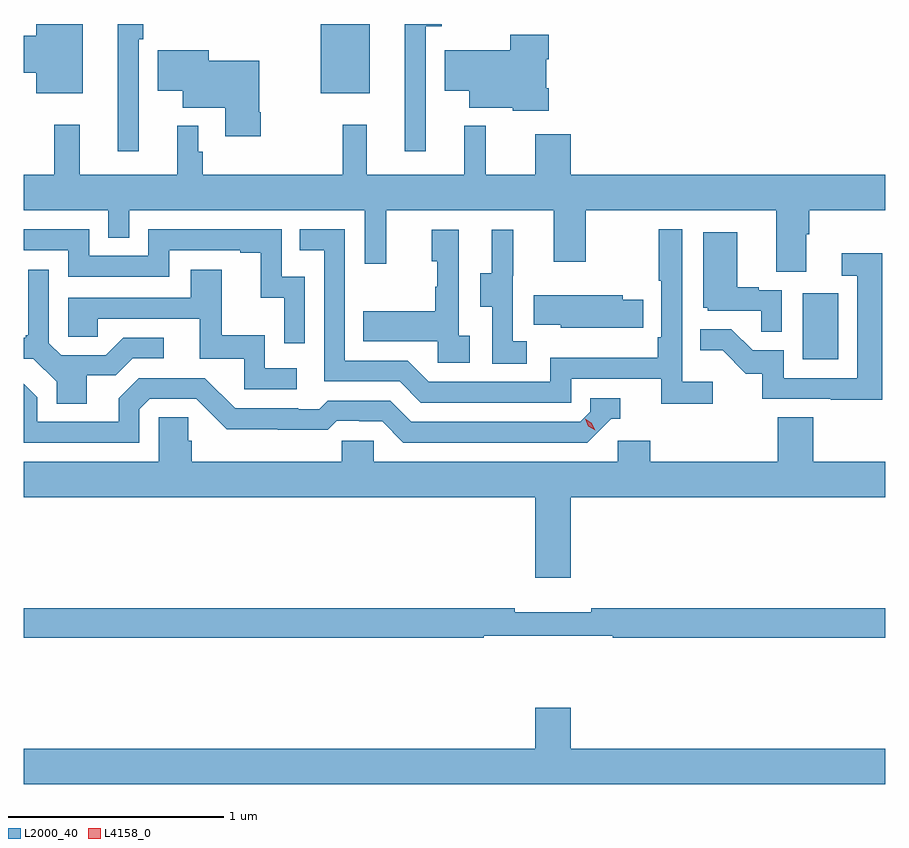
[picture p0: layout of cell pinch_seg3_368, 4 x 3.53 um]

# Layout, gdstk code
import gdstk
lib = gdstk.Library(unit=1e-6, precision=1e-09)
def R(c, l, rs):  # rectangles x0, y0, x1, y1
    for r in rs: c.add(gdstk.rectangle(r[:2], r[2:], *l))
def P(c, l, *ps):  # polygons
    for p in ps: c.add(gdstk.Polygon(p, *l))
L2000_40 = (2000, 40)
L4158_0 = (4158, 0)

pinch_seg3_368 = lib.new_cell('pinch_seg3_368')
R(pinch_seg3_368, L2000_40, [(993.422,690.9,993.586,691.207), (991.184,692.135,991.411,692.457)])
P(pinch_seg3_368, L2000_40, [(990.079,692.457),(989.864,692.457),(989.864,692.402),(989.805,692.402),(989.805,692.23),(989.864,692.23),(989.864,692.135),(990.079,692.135)],
  [(990.339,692.387),(990.359,692.387),(990.359,692.457),(990.242,692.457),(990.242,691.866),(990.339,691.866)],
  [(991.671,692.447),(991.745,692.447),(991.745,692.457),(991.574,692.457),(991.574,691.866),(991.671,691.866)],
  [(992.243,692.158),(992.23,692.158),(992.23,692.294),(992.243,692.294),(992.243,692.407),(992.065,692.407),(992.065,692.335),(991.76,692.335),(991.76,692.147),(991.874,692.147),(991.874,692.069),(992.076,692.069),(992.076,692.054),(992.243,692.054)],
  [(990.906,692.047),(990.898,692.047),(990.898,692.287),(990.664,692.287),(990.664,692.335),(990.428,692.335),(990.428,692.147),(990.542,692.147),(990.542,692.069),(990.74,692.069),(990.74,691.935),(990.906,691.935)],
  [(993.439,691.48),(993.452,691.48),(993.452,691.592),(993.805,691.592),(993.805,691.756),(992.344,691.756),(992.344,691.945),(992.18,691.945),(992.18,691.756),(991.95,691.756),(991.95,691.984),(991.85,691.984),(991.85,691.756),(991.397,691.756),(991.397,691.99),(991.287,691.99),(991.287,691.756),(990.635,691.756),(990.635,691.863),(990.615,691.863),(990.615,691.984),(990.518,691.984),(990.518,691.756),(990.065,691.756),(990.065,691.99),(989.947,691.99),(989.947,691.756),(989.805,691.756),(989.805,691.592),(990.198,691.592),(990.198,691.465),(990.294,691.465),(990.294,691.592),(991.389,691.592),(991.389,691.344),(991.487,691.344),(991.487,691.592),(992.267,691.592),(992.267,691.353),(992.415,691.353),(992.415,691.592),(993.299,691.592),(993.299,691.306),(993.439,691.306)],
  [(993.004,690.796),(992.862,690.796),(992.862,691.504),(992.754,691.504),(992.754,691.264),(992.766,691.264),(992.766,691.003),(992.749,691.003),(992.749,690.907),(992.25,690.907),(992.25,690.795),(991.686,690.795),(991.587,690.894),(991.296,690.894),(991.296,691.503),(991.087,691.503),(991.087,691.407),(991.2,691.407),(991.2,690.798),(991.55,690.798),(991.649,690.699),(992.346,690.699),(992.346,690.81),(992.765,690.81),(992.765,690.694),(993.004,690.694)],
  [(991.11,691.284),(991.002,691.284),(991.002,691.503),(990.384,691.503),(990.384,691.38),(990.108,691.38),(990.108,691.503),(989.805,691.503),(989.805,691.407),(990.012,691.407),(990.012,691.284),(990.48,691.284),(990.48,691.407),(990.809,691.407),(990.809,691.395),(990.905,691.395),(990.905,691.187),(991.014,691.187),(991.014,690.975),(991.11,690.975)],
  [(991.876,691.01),(991.824,691.01),(991.824,691.501),(991.7,691.501),(991.7,691.356),(991.726,691.356),(991.726,691.238),(991.716,691.238),(991.716,691.123),(991.381,691.123),(991.381,690.983),(991.728,690.983),(991.728,690.885),(991.876,690.885)],
  [(992.14,690.983),(992.076,690.983),(992.076,691.287),(992.078,691.287),(992.078,691.501),(991.979,691.501),(991.979,691.299),(991.925,691.299),(991.925,691.144),(991.98,691.144),(991.98,690.88),(992.14,690.88)],
  [(993.324,691.221),(993.218,691.221),(993.218,691.234),(993.118,691.234),(993.118,691.489),(992.96,691.489),(992.96,691.14),(992.982,691.14),(992.982,691.125),(993.229,691.125),(993.229,691.027),(993.324,691.027)],
  [(993.791,691.393),(993.603,691.393),(993.603,691.287),(993.675,691.287),(993.675,690.813),(993.333,690.813),(993.333,690.942),(993.189,690.942),(993.091,691.04),(992.947,691.04),(992.947,690.941),(993.051,690.941),(993.158,690.834),(993.235,690.834),(993.235,690.717),(993.553,690.717),(993.553,690.712),(993.791,690.712)],
  [(990.097,690.826),(990.232,690.826),(990.312,690.906),(990.454,690.906),(990.454,690.999),(990.266,690.999),(990.185,690.918),(989.979,690.918),(989.922,690.975),(989.922,691.315),(989.825,691.315),(989.825,691.012),(989.814,691.012),(989.814,691),(989.805,691),(989.805,690.903),(989.85,690.903),(989.957,690.796),(989.957,690.694),(990.097,690.694)],
  [(991.072,690.858),(990.924,690.858),(990.924,691.012),(990.725,691.012),(990.725,691.315),(990.581,691.315),(990.581,691.185),(990.012,691.185),(990.012,691.005),(990.149,691.005),(990.149,691.089),(990.623,691.089),(990.623,690.903),(990.828,690.903),(990.828,690.762),(991.072,690.762)],
  [(992.57,691.047),(992.681,691.047),(992.681,691.176),(992.587,691.176),(992.587,691.198),(992.173,691.198),(992.173,691.061),(992.298,691.061),(992.298,691.046),(992.57,691.046)],
  [(990.342,690.669),(990.39,690.717),(990.606,690.717),(990.748,690.575),(990.984,690.575),(990.984,690.573),(991.217,690.573),(991.259,690.615),(991.362,690.615),(991.362,690.612),(991.469,690.612),(991.568,690.513),(992.421,690.513),(992.532,690.624),(992.575,690.624),(992.575,690.72),(992.436,690.72),(992.436,690.657),(992.388,690.609),(991.605,690.609),(991.506,690.708),(991.217,690.708),(991.178,690.669),(991.079,690.669),(991.079,690.672),(990.786,690.672),(990.645,690.813),(990.339,690.813),(990.245,690.719),(990.245,690.609),(989.868,690.609),(989.868,690.723),(989.805,690.786),(989.805,690.513),(990.342,690.513)],
  [(992.344,690.26),(993.805,690.26),(993.805,690.424),(993.47,690.424),(993.47,690.632),(993.305,690.632),(993.305,690.424),(992.714,690.424),(992.714,690.522),(992.562,690.522),(992.562,690.424),(991.431,690.424),(991.431,690.522),(991.281,690.522),(991.281,690.424),(990.584,690.424),(990.584,690.522),(990.569,690.522),(990.569,690.632),(990.432,690.632),(990.432,690.424),(989.805,690.424),(989.805,690.26),(992.18,690.26),(992.18,689.886),(992.344,689.886)],
  [(991.94,689.616),(992.54,689.616),(992.54,689.608),(993.805,689.608),(993.805,689.744),(992.44,689.744),(992.44,689.725),(992.084,689.725),(992.084,689.744),(989.805,689.744),(989.805,689.608),(991.94,689.608)],
  [(993.805,689.092),(992.344,689.092),(992.344,689.281),(992.18,689.281),(992.18,689.092),(989.805,689.092),(989.805,688.928),(993.805,688.928)])
P(pinch_seg3_368, L4158_0, [(992.458,690.57),(992.427,690.59),(992.412,690.623),(992.412,690.623),(992.412,690.623),(992.442,690.603),(992.458,690.57),(992.458,690.57)])

lib.write_gds('pinch_seg3_368.gds')
